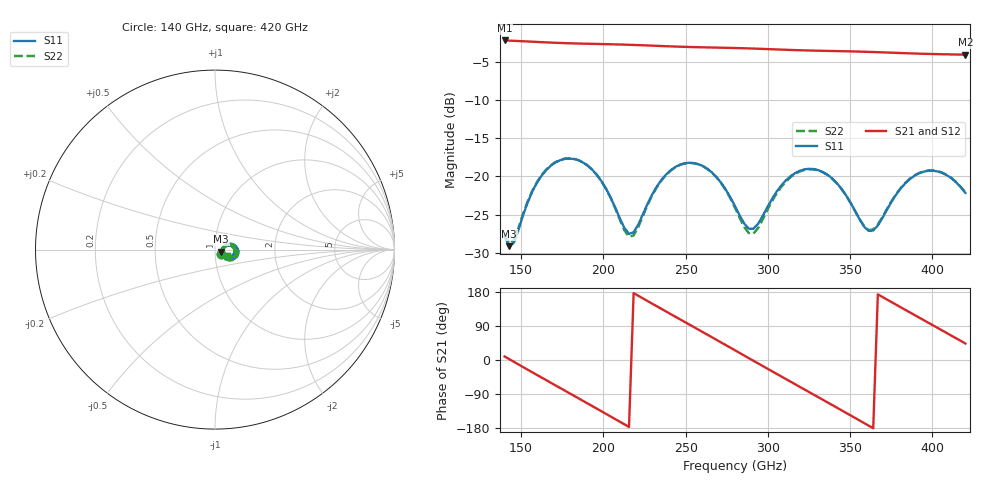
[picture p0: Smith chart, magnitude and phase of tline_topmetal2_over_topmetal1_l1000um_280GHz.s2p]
#  GHZ S DB R 50
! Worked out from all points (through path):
!   101 points, 140 GHz to 420 GHz, reference 50 ohm
!   highest |S21| = -2.20 dB at 140 GHz (marker M1); lowest = -4.1 dB at 420 GHz (marker M2)
!   group delay of S21, straight-line fit = 6.8 ps
!   lowest |S11| = -29.1 dB at 142.8 GHz (marker M3), VSWR 1.07, Z = 53.4 - j1.14 ohm
!   |S11| at or under -10 dB: start of sweep to end of sweep
!   |S22| runs from -28.8 to -17.6 dB; largest |S21 - S12| = 1.1e-13
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140  -27.87 -35.7  -2.20 9.3  -2.20 9.3  -27.64 -35.0
142.8  -29.14 -17.8  -2.22 2.3  -2.22 2.3  -28.79 -17.7
154  -23.41 24.7  -2.33 -25.4  -2.33 -25.4  -23.27 23.0
168  -18.61 10.2  -2.47 -59.8  -2.47 -59.8  -18.56 8.7
187.6  -18.18 -22.3  -2.61 -107.7  -2.61 -107.7  -18.15 -24.0
201.6  -21.59 -39.1  -2.68 -142.1  -2.68 -142.1  -21.62 -41.3
215.6  -27.51 -13.4  -2.76 -176.6  -2.76 -176.6  -27.91 -15.3
235.2  -20.49 17.0  -2.92 135.2  -2.92 135.2  -20.56 16.8
246.4  -18.48 1.9  -3.01 107.8  -3.01 107.8  -18.51 1.3
257.6  -18.39 -15.6  -3.08 80.5  -3.08 80.5  -18.41 -16.7
280  -23.90 -34.9  -3.19 25.6  -3.19 25.6  -24.10 -37.5
291.2  -26.86 -3.8  -3.26 -2.0  -3.26 -2.0  -27.48 -4.3
299.6  -24.06 15.9  -3.33 -22.6  -3.33 -22.6  -24.42 17.3
313.6  -20.00 9.0  -3.44 -56.8  -3.44 -56.8  -20.13 10.1
327.6  -19.03 -10.4  -3.53 -90.9  -3.53 -90.9  -19.09 -9.6
338.8  -20.22 -25.5  -3.58 -118.2  -3.58 -118.2  -20.26 -24.8
352.8  -24.47 -31.3  -3.64 -152.5  -3.64 -152.5  -24.46 -30.4
364  -27.08 -0.5  -3.71 -180.0  -3.71 -180.0  -26.94 -0.1
375.2  -23.29 19.3  -3.80 152.6  -3.80 152.6  -23.20 19.0
397.6  -19.26 -3.1  -3.96 98.1  -3.96 98.1  -19.22 -3.4
408.8  -19.86 -18.5  -4.01 70.9  -4.01 70.9  -19.81 -18.6
420  -22.17 -28.9  -4.06 43.5  -4.06 43.5  -22.10 -28.9
